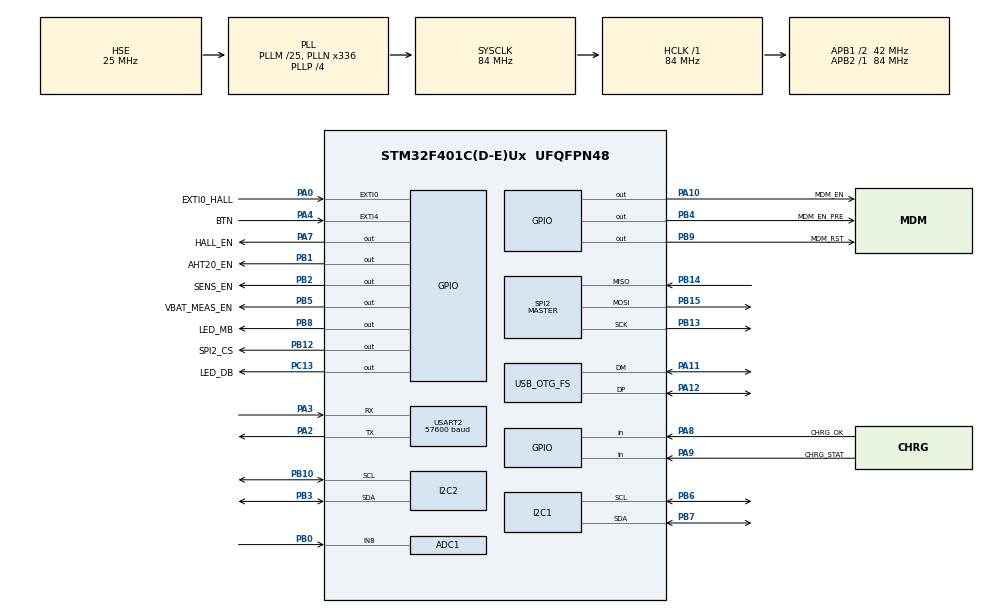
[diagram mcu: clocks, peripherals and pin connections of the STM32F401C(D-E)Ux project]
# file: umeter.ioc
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ADC1.Channel-0\#ChannelRegularConversion=ADC_CHANNEL_8
ADC1.NbrOfConversion=1
ADC1.NbrOfConversionFlag=1
ADC1.Rank-0\#ChannelRegularConversion=1
ADC1.SamplingTime-0\#ChannelRegularConversion=ADC_SAMPLETIME_3CYCLES
ADC1.master=1
Dma.Request0=USART2_RX
Dma.Request1=USART2_TX
Dma.USART2_RX.0.Direction=DMA_PERIPH_TO_MEMORY
Dma.USART2_RX.0.FIFOMode=DMA_FIFOMODE_DISABLE
Dma.USART2_RX.0.Instance=DMA1_Stream5
Dma.USART2_RX.0.MemDataAlignment=DMA_MDATAALIGN_BYTE
Dma.USART2_RX.0.MemInc=DMA_MINC_ENABLE
Dma.USART2_RX.0.Mode=DMA_NORMAL
Dma.USART2_RX.0.PeriphDataAlignment=DMA_PDATAALIGN_BYTE
Dma.USART2_RX.0.PeriphInc=DMA_PINC_DISABLE
Dma.USART2_RX.0.Priority=DMA_PRIORITY_LOW
Dma.USART2_TX.1.Direction=DMA_MEMORY_TO_PERIPH
Dma.USART2_TX.1.FIFOMode=DMA_FIFOMODE_DISABLE
Dma.USART2_TX.1.Instance=DMA1_Stream6
Dma.USART2_TX.1.MemDataAlignment=DMA_MDATAALIGN_BYTE
Dma.USART2_TX.1.MemInc=DMA_MINC_ENABLE
Dma.USART2_TX.1.Mode=DMA_NORMAL
Dma.USART2_TX.1.PeriphDataAlignment=DMA_PDATAALIGN_BYTE
Dma.USART2_TX.1.PeriphInc=DMA_PINC_DISABLE
Dma.USART2_TX.1.Priority=DMA_PRIORITY_LOW
FREERTOS.INCLUDE_xTaskGetHandle=1
FREERTOS.Tasks01=def,8,128,task_default,Default,&task_default_ctx,Dynamic,NULL,NULL;blink,8,64,task_blink,As external,&task_blink_ctx,Dynamic,NULL,NULL;button,16,128,task_button,As external,&task_button_ctx,Dynamic,NULL,NULL;logging,16,128,task_logging,As external,&task_logging_ctx,Dynamic,NULL,NULL;modem,24,256,task_modem,As external,&task_modem_ctx,Dynamic,NULL,NULL;serial_iface,24,256,task_serial_iface,As external,&task_serial_iface_ctx,Dynamic,NULL,NULL;ota,24,512,task_ota,As external,&task_ota_ctx,Dynamic,NULL,NULL;anemometer,32,128,task_anemometer,As external,&task_anemometer_ctx,Dynamic,NULL,NULL;sensors,32,128,task_sensors,As external,&task_sensors_ctx,Dynamic,NULL,NULL;watchdog,40,64,task_watchdog,As external,&task_watchdog_ctx,Dynamic,NULL,NULL;net,24,768,task_net,As external,&task_net_ctx,Dynamic,NULL,NULL
FREERTOS.configMINIMAL_STACK_SIZE=64
FREERTOS.configRECORD_STACK_HIGH_ADDRESS=1
FREERTOS.configTICK_RATE_HZ=100
FREERTOS.configTOTAL_HEAP_SIZE=20480
FREERTOS.configUSE_NEWLIB_REENTRANT=1
FREERTOS.configUSE_PREEMPTION=1
FREERTOS.configUSE_TICKLESS_IDLE=2
IWDG.Prescaler=IWDG_PRESCALER_256
Mcu.Family=STM32F4
Mcu.Name=STM32F401C(D-E)Ux
Mcu.Package=UFQFPN48
NVIC.DMA1_Stream5_IRQn=true\:5\:0\:false\:false\:true\:true\:false\:true\:true
NVIC.DMA1_Stream6_IRQn=true\:5\:0\:false\:false\:true\:true\:false\:true\:true
NVIC.EXTI0_IRQn=true\:5\:0\:false\:false\:true\:true\:true\:true\:true
NVIC.EXTI4_IRQn=true\:6\:0\:true\:false\:true\:true\:true\:true\:true
NVIC.OTG_FS_IRQn=true\:5\:0\:false\:false\:true\:true\:false\:true\:true
NVIC.PriorityGroup=NVIC_PRIORITYGROUP_4
NVIC.RTC_WKUP_IRQn=true\:5\:0\:false\:false\:true\:true\:true\:true\:true
NVIC.TIM1_UP_TIM10_IRQn=true\:15\:0\:false\:false\:true\:false\:false\:true\:true
NVIC.TimeBase=TIM1_UP_TIM10_IRQn
NVIC.TimeBaseIP=TIM1
NVIC.USART2_IRQn=true\:5\:0\:false\:false\:true\:true\:true\:true\:true
PA0-WKUP.GPIO_Label=EXTI0_HALL
PA0-WKUP.GPIO_ModeDefaultEXTI=GPIO_MODE_IT_FALLING
PA0-WKUP.Signal=GPXTI0
PA10.GPIO_Label=MDM_EN
PA10.Signal=GPIO_Output
PA11.Mode=Device_Only
PA11.Signal=USB_OTG_FS_DM
PA12.Mode=Device_Only
PA12.Signal=USB_OTG_FS_DP
PA13.Mode=Serial_Wire
PA13.Signal=SYS_JTMS-SWDIO
PA14.Mode=Serial_Wire
PA14.Signal=SYS_JTCK-SWCLK
PA2.Mode=Asynchronous
PA2.Signal=USART2_TX
PA3.Mode=Asynchronous
PA3.Signal=USART2_RX
PA4.GPIO_Label=BTN
PA4.GPIO_ModeDefaultEXTI=GPIO_MODE_IT_RISING_FALLING
PA4.Signal=GPXTI4
PA7.GPIO_Label=HALL_EN
PA7.Signal=GPIO_Output
PA8.GPIO_Label=CHRG_OK
PA8.Signal=GPIO_Input
PA9.GPIO_Label=CHRG_STAT
PA9.Signal=GPIO_Input
PB0.Signal=ADCx_IN8
PB1.GPIO_Label=AHT20_EN
PB1.Signal=GPIO_Output
PB10.Mode=I2C
PB10.Signal=I2C2_SCL
PB12.GPIO_Label=SPI2_CS
PB12.PinState=GPIO_PIN_SET
PB12.Signal=GPIO_Output
PB13.Mode=Full_Duplex_Master
PB13.Signal=SPI2_SCK
PB14.Mode=Full_Duplex_Master
PB14.Signal=SPI2_MISO
PB15.Mode=Full_Duplex_Master
PB15.Signal=SPI2_MOSI
PB2.GPIO_Label=SENS_EN
PB2.Signal=GPIO_Output
PB3.Mode=I2C
PB3.Signal=I2C2_SDA
PB4.GPIO_Label=MDM_EN_PRE
PB4.Signal=GPIO_Output
PB5.GPIO_Label=VBAT_MEAS_EN
PB5.Signal=GPIO_Output
PB6.Mode=I2C
PB6.Signal=I2C1_SCL
PB7.Mode=I2C
PB7.Signal=I2C1_SDA
PB8.GPIO_Label=LED_MB
PB8.Signal=GPIO_Output
PB9.GPIO_Label=MDM_RST
PB9.Signal=GPIO_Output
PC13-ANTI_TAMP.GPIO_Label=LED_DB
PC13-ANTI_TAMP.PinState=GPIO_PIN_SET
PC13-ANTI_TAMP.Signal=GPIO_Output
PC14-OSC32_IN.Mode=LSE-External-Oscillator
PC14-OSC32_IN.Signal=RCC_OSC32_IN
PC15-OSC32_OUT.Mode=LSE-External-Oscillator
PC15-OSC32_OUT.Signal=RCC_OSC32_OUT
PH0\ -\ OSC_IN.Mode=HSE-External-Oscillator
PH0\ -\ OSC_IN.Signal=RCC_OSC_IN
PH1\ -\ OSC_OUT.Mode=HSE-External-Oscillator
PH1\ -\ OSC_OUT.Signal=RCC_OSC_OUT
ProjectManager.HeapSize=0x1
ProjectManager.StackSize=0x1
ProjectManager.TargetToolchain=CMake
RCC.48MHZClocksFreq_Value=48000000
RCC.AHBFreq_Value=84000000
RCC.APB1CLKDivider=RCC_HCLK_DIV2
RCC.APB1Freq_Value=42000000
RCC.APB1TimFreq_Value=84000000
RCC.APB2Freq_Value=84000000
RCC.APB2TimFreq_Value=84000000
RCC.CortexFreq_Value=84000000
RCC.HCLKFreq_Value=84000000
RCC.HSE_VALUE=25000000
RCC.HSI_VALUE=16000000
RCC.PLLM=25
RCC.PLLN=336
RCC.PLLP=RCC_PLLP_DIV4
RCC.PLLQ=7
RCC.RCC_RTC_Clock_Source=RCC_RTCCLKSOURCE_LSE
RCC.RCC_RTC_Clock_SourceVirtual=RCC_RTCCLKSOURCE_LSE
RCC.SYSCLKFreq_VALUE=84000000
RCC.SYSCLKSource=RCC_SYSCLKSOURCE_PLLCLK
RCC.VCOOutputFreq_Value=336000000
RTC.AsynchPrediv=3
RTC.Format=RTC_FORMAT_BIN
RTC.Hours=0
RTC.StoreOperation=RTC_STOREOPERATION_RESET
RTC.SynchPrediv=8191
SH.ADCx_IN8.0=ADC1_IN8,IN8
SPI2.Direction=SPI_DIRECTION_2LINES
SPI2.Mode=SPI_MODE_MASTER
SPI2.VirtualType=VM_MASTER
USART2.BaudRate=57600
USART2.VirtualMode=VM_ASYNC
USB_DEVICE.CLASS_NAME_FS=CDC
USB_DEVICE.VirtualMode-CDC_FS=Cdc
USB_DEVICE.VirtualModeFS=Cdc_FS
USB_OTG_FS.VirtualMode=Device_Only
VP_FREERTOS_VS_CMSIS_V2.Mode=CMSIS_V2
VP_IWDG_VS_IWDG.Mode=IWDG_Activate
VP_RTC_VS_RTC_Activate.Mode=RTC_Enabled
VP_RTC_VS_RTC_Calendar.Mode=RTC_Calendar
VP_RTC_VS_RTC_WakeUp_intern.Mode=WakeUp
VP_SYS_VS_tim1.Mode=TIM1
VP_USB_DEVICE_VS_USB_DEVICE_CDC_FS.Mode=CDC_FS
board=custom

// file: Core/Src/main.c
/* USER CODE BEGIN Header */
/**
  ******************************************************************************
  * @file           : main.c
  * @brief          : Main program body
  ******************************************************************************
  * @attention
  *
  * Copyright (c) 2026 STMicroelectronics.
  * All rights reserved.
  *
  * This software is licensed under terms that can be found in the LICENSE file
  * in the root directory of this software component.
  * If no LICENSE file comes with this software, it is provided AS-IS.
  *
  ******************************************************************************
  */
/* USER CODE END Header */
#include "main.h"

#include "cmsis_os.h"
#include "dma.h"
#include "gpio.h"
#include "iwdg.h"
#include "rtc.h"
#include "usb_device.h"

/* USER CODE BEGIN Includes */

#include <string.h>

#include "actual.h"
#include "adc.h"
#include "aht20.h"
#include "appiface.h"
#include "as5600.h"
#include "avoltage.h"
#include "button.h"
#include "freqmeter.h"
#include "fws.h"
#include "i2c.h"
#include "icp201xx.h"
#include "logger.h"
#include "params.h"
#include "ptasks.h"
#include "sensorq.h"
#include "siface.h"
#include "sim800l.h"
#include "spi.h"
#include "usart.h"
#include "w25q_s.h"

/* USER CODE END Includes */

/* USER CODE BEGIN PD */

#define STACK_COLOR_WORD 0xACACACAC

/* RTC wakeup clock = LSE / 16 = 2048 Hz (set in MX_RTC_Init) */
#define RTC_WKUP_CLK_HZ 2048U

/* Maximum sleep time limited by IWDG (32 s) with safety margin */
#define MAX_SLEEP_MS 30000U

/* USER CODE END PD */

/* USER CODE BEGIN PV */

volatile struct bl_params bl __attribute__((section(".noinit")));

volatile int init_done = 0;

extern const uint32_t* _ebss;
extern const uint32_t* _estack;
extern const uint32_t* _app;
#define APP_ADDRESS ((uint32_t)&_app)

/* Hardware instances */
static struct actual actual;
static struct as5600 pot;
static struct aht20 aht;
static struct icp201xx prs;
static struct freqmeter cnt;
static struct avoltage avlt;
static struct button btn;
static struct siface siface;
static struct sim800l modem;
static struct w25q_s mem;
static struct sensorq sensorq;
static struct sensor_record sensorq_buf[SENSORS_QUEUE_CAPACITY];
#ifdef LOGGER
static struct logger logger;
#endif

/* USER CODE END PV */

void SystemClock_Config(void);
void MX_FREERTOS_Init(void);

/* USER CODE BEGIN 0 */

/*---------------------------------------------------------------------------*/
/* Power management functions                                                */
/*---------------------------------------------------------------------------*/

static void pm_modem_on(void) {
    HAL_GPIO_WritePin(MDM_RST_GPIO_Port, MDM_RST_Pin, GPIO_PIN_RESET);
    HAL_GPIO_WritePin(MDM_EN_PRE_GPIO_Port, MDM_EN_PRE_Pin, GPIO_PIN_SET);
    osDelay(pdMS_TO_TICKS(200));
    HAL_GPIO_WritePin(MDM_EN_GPIO_Port, MDM_EN_Pin, GPIO_PIN_SET);
    osDelay(pdMS_TO_TICKS(100));
    MX_USART2_UART_Init();
    HAL_GPIO_WritePin(MDM_RST_GPIO_Port, MDM_RST_Pin, GPIO_PIN_SET);
    osDelay(pdMS_TO_TICKS(3000));
}

static void pm_modem_off(void) {
    HAL_GPIO_WritePin(MDM_RST_GPIO_Port, MDM_RST_Pin, GPIO_PIN_RESET);
    HAL_UART_DeInit(&huart2);
    HAL_GPIO_WritePin(MDM_EN_GPIO_Port, MDM_EN_Pin, GPIO_PIN_RESET);
    HAL_GPIO_WritePin(MDM_EN_PRE_GPIO_Port, MDM_EN_PRE_Pin, GPIO_PIN_RESET);
}

static void pm_sens_on(void) {
    HAL_GPIO_WritePin(SENS_EN_GPIO_Port, SENS_EN_Pin, GPIO_PIN_SET);
    osDelay(pdMS_TO_TICKS(20));
    MX_I2C1_Init();
}

static void pm_sens_off(void) {
    HAL_I2C_DeInit(&hi2c1);
    HAL_GPIO_WritePin(SENS_EN_GPIO_Port, SENS_EN_Pin, GPIO_PIN_RESET);
}

static void pm_aht20_on(void) {
    HAL_I2C_DeInit(&hi2c2);
    HAL_GPIO_WritePin(AHT20_EN_GPIO_Port, AHT20_EN_Pin, GPIO_PIN_SET);
    osDelay(pdMS_TO_TICKS(100));
    MX_I2C2_Init();
}

static void pm_aht20_off(void) {
    HAL_I2C_DeInit(&hi2c2);
    HAL_GPIO_WritePin(AHT20_EN_GPIO_Port, AHT20_EN_Pin, GPIO_PIN_RESET);
    osDelay(pdMS_TO_TICKS(2));
}

static void pm_anemometer_on(void) {
    HAL_GPIO_WritePin(HALL_EN_GPIO_Port, HALL_EN_Pin, GPIO_PIN_SET);

    GPIO_InitTypeDef gi = {0};
    gi.Pin              = EXTI0_HALL_Pin;
    gi.Mode             = GPIO_MODE_IT_FALLING;
    gi.Pull             = GPIO_NOPULL;
    HAL_GPIO_Init(EXTI0_HALL_GPIO_Port, &gi);

    __HAL_GPIO_EXTI_CLEAR_IT(EXTI0_HALL_Pin);
    HAL_NVIC_ClearPendingIRQ(EXTI0_HALL_EXTI_IRQn);
    HAL_NVIC_EnableIRQ(EXTI0_HALL_EXTI_IRQn);
}

static void pm_anemometer_off(void) {
    HAL_NVIC_DisableIRQ(EXTI0_HALL_EXTI_IRQn);
    __HAL_GPIO_EXTI_CLEAR_IT(EXTI0_HALL_Pin);

    GPIO_InitTypeDef gi = {0};
    gi.Pin              = EXTI0_HALL_Pin;
    gi.Mode             = GPIO_MODE_ANALOG;
    gi.Pull             = GPIO_NOPULL;
    HAL_GPIO_Init(EXTI0_HALL_GPIO_Port, &gi);

    HAL_GPIO_WritePin(HALL_EN_GPIO_Port, HALL_EN_Pin, GPIO_PIN_RESET);
}

static void pm_avoltage_on(void) {
    MX_ADC1_Init();
    HAL_GPIO_WritePin(VBAT_MEAS_EN_GPIO_Port, VBAT_MEAS_EN_Pin, GPIO_PIN_SET);
    osDelay(pdMS_TO_TICKS(10));
}

static void pm_avoltage_off(void) {
    HAL_ADC_DeInit(&hadc1);
    HAL_GPIO_WritePin(VBAT_MEAS_EN_GPIO_Port, VBAT_MEAS_EN_Pin, GPIO_PIN_RESET);
}

static void pm_flash_spi_init(void) {
    MX_SPI2_Init();
}

static void pm_flash_spi_deinit(void) {
    HAL_SPI_DeInit(&hspi2);
}

/*---------------------------------------------------------------------------*/
/* Task context instances                                                    */
/*---------------------------------------------------------------------------*/

struct task_default_ctx task_default_ctx = {
    .actual  = &actual,
    .logger  = &logger,
    .sensorq = &sensorq,
    .cnt     = &cnt,
};
struct task_blink_ctx task_blink_ctx = {0};

struct task_button_ctx task_button_ctx = {
    .actual = &actual,
    .btn    = &btn,
};

struct task_watchdog_ctx task_watchdog_ctx = {0};

struct task_anemometer_ctx task_anemometer_ctx = {
    .actual         = &actual,
    .cnt            = &cnt,
    .anemometer_on  = pm_anemometer_on,
    .anemometer_off = pm_anemometer_off,
};

struct task_sensors_ctx task_sensors_ctx = {
    .actual   = &actual,
    .as5600   = &pot,
    .aht20    = &aht,
    .icp201xx = &prs,
    .voltage  = &avlt,
#ifdef LOGGER
    .logger = &logger,
#endif
    .sens_on   = pm_sens_on,
    .sens_off  = pm_sens_off,
    .aht20_on  = pm_aht20_on,
    .aht20_off = pm_aht20_off,
};

struct task_modem_ctx task_modem_ctx = {
    .actual    = &actual,
    .modem     = &modem,
    .voltage   = &avlt,
    .power_on  = pm_modem_on,
    .power_off = pm_modem_off,
#ifdef LOGGER
    .logger = &logger,
#endif
};

struct task_serial_iface_ctx task_serial_iface_ctx = {
    .siface = &siface,
};

struct task_logging_ctx task_logging_ctx = {
#ifdef LOGGER
    .logger = &logger,
#endif
};

struct task_net_ctx task_net_ctx = {
    .actual = &actual,
    .queue  = &sensorq,
#ifdef LOGGER
    .logger = &logger,
#endif
};

struct task_ota_ctx task_ota_ctx = {
    .mem = &mem,
#ifdef LOGGER
    .logger = &logger,
#endif
};

/*---------------------------------------------------------------------------*/
/* ISR forwarders                                                            */
/*---------------------------------------------------------------------------*/

void usb_cdc_rx_callback(uint8_t* buf, size_t size) {
    siface_rx_irq(&siface, (const char*)buf, size);
}

void usb_cdc_tx_callback(void) {
    siface_tx_irq(&siface);
}

void HAL_UARTEx_RxEventCallback(UART_HandleTypeDef* huart, uint16_t size) {
    if (HAL_UARTEx_GetRxEventType(huart) == HAL_UART_RXEVENT_HT) {
        return;
    }

    if (huart == &huart2) {
        sim800l_irq(&modem, size);
        HAL_UARTEx_ReceiveToIdle_DMA(modem.uart,
                                     (uint8_t*)modem.dma_buffer,
                                     SIM800L_UART_BUFFER_SIZE);
    }
}

void HAL_UART_ErrorCallback(UART_HandleTypeDef* huart) {
    if (huart == &huart2) {
        HAL_UART_AbortReceive(huart);
        HAL_UARTEx_ReceiveToIdle_DMA(modem.uart,
                                     (uint8_t*)modem.dma_buffer,
                                     SIM800L_UART_BUFFER_SIZE);
    }
}

void HAL_UART_TxCpltCallback(UART_HandleTypeDef* huart) {
    (void)huart;
}

void HAL_GPIO_EXTI_Callback(uint16_t GPIO_Pin) {
    GPIO_PinState pin_state;

    if (!init_done) {
        return;
    }

    if (GPIO_Pin == EXTI0_HALL_Pin) {
        freqmeter_irq(&cnt);
        return;
    }

    if (GPIO_Pin == BTN_Pin) {
        pin_state = HAL_GPIO_ReadPin(BTN_GPIO_Port, BTN_Pin);
        if (button_irq_callback(&btn,
                                (pin_state == GPIO_PIN_RESET),
                                HAL_GetTick())) {
            task_button_irq_notify_from_isr();
        }
    }
}

//
static void stack_color(void) {
    volatile uint32_t *p, *end;

    p   = (uint32_t*)&_ebss;
    end = (uint32_t*)__get_MSP();
    p++;

    while (p < end) {
        *p = STACK_COLOR_WORD;
        p++;
    }
}

//
size_t stack_size(void) {
    volatile uint32_t *p, *end;

    p   = (uint32_t*)&_ebss;
    end = (uint32_t*)&_estack;
    p++;

    while ((p < end) && (*p == STACK_COLOR_WORD)) {
        p++;
    }

    return (size_t)end - (size_t)p;
}

/* USER CODE END 0 */

int main(void) {
    /* USER CODE BEGIN 1 */

    SCB->VTOR = APP_ADDRESS;
    __enable_irq();

    //
    stack_color();

    /* USER CODE END 1 */

    /* MCU Configuration--------------------------------------------------------*/

    /* Reset of all peripherals, Initializes the Flash interface and the Systick. */
    HAL_Init();

    /* Configure the system clock */
    SystemClock_Config();

    /* Initialize all configured peripherals */
    MX_GPIO_Init();
    MX_DMA_Init();
    MX_IWDG_Init();
    MX_RTC_Init();
    /* USER CODE BEGIN 2 */

    HAL_RTCEx_DeactivateWakeUpTimer(&hrtc);

    //
    params_init();

    //
    actual_init(&actual);

    //
    appif.actual  = &actual;
    appif.uparams = params;

    //
    button_init(&btn, NULL, 50);
    siface_init(&siface, 32, appiface, &appif);
#ifdef LOGGER
    logger_init(&logger, &siface);
#endif
    w25q_s_init(&mem,
                &hspi2,
                SPI2_CS_GPIO_Port,
                SPI2_CS_Pin,
                pm_flash_spi_init,
                pm_flash_spi_deinit);
    sim800l_init(&modem, &huart2, params.apn, &logger);
    modem_init();
    as5600_init(&pot, &hi2c1);
    icp201xx_init(&prs, &hi2c1);
    aht20_init(&aht, &hi2c2);
    freqmeter_init(&cnt);
    avoltage_init(&avlt, &hadc1, 2, pm_avoltage_on, pm_avoltage_off);

    sensorq_init(&sensorq, sensorq_buf, SENSORS_QUEUE_CAPACITY);

    // Flash power-down in Stop mode
    HAL_PWREx_EnableFlashPowerDown();

    /* USER CODE END 2 */

    /* Init scheduler */
    osKernelInitialize(); /* Call init function for freertos objects (in cmsis_os2.c) */
    MX_FREERTOS_Init();

    /* Start scheduler */
    osKernelStart();

    /* We should never get here as control is now taken by the scheduler */

    /* Infinite loop */
    while (1) {

    }
}

void SystemClock_Config(void) {
    RCC_OscInitTypeDef RCC_OscInitStruct = {0};
    RCC_ClkInitTypeDef RCC_ClkInitStruct = {0};

    /** Configure the main internal regulator output voltage
  */
    __HAL_RCC_PWR_CLK_ENABLE();
    __HAL_PWR_VOLTAGESCALING_CONFIG(PWR_REGULATOR_VOLTAGE_SCALE2);

    /** Initializes the RCC Oscillators according to the specified parameters
  * in the RCC_OscInitTypeDef structure.
  */
    RCC_OscInitStruct.OscillatorType = RCC_OSCILLATORTYPE_LSI |
                                       RCC_OSCILLATORTYPE_HSE |
                                       RCC_OSCILLATORTYPE_LSE;
    RCC_OscInitStruct.HSEState       = RCC_HSE_ON;
    RCC_OscInitStruct.LSEState       = RCC_LSE_ON;
    RCC_OscInitStruct.LSIState       = RCC_LSI_ON;
    RCC_OscInitStruct.PLL.PLLState   = RCC_PLL_ON;
    RCC_OscInitStruct.PLL.PLLSource  = RCC_PLLSOURCE_HSE;
    RCC_OscInitStruct.PLL.PLLM       = 25;
    RCC_OscInitStruct.PLL.PLLN       = 336;
    RCC_OscInitStruct.PLL.PLLP       = RCC_PLLP_DIV4;
    RCC_OscInitStruct.PLL.PLLQ       = 7;
    if (HAL_RCC_OscConfig(&RCC_OscInitStruct) != HAL_OK) {
        Error_Handler();
    }

    /** Initializes the CPU, AHB and APB buses clocks
  */
    RCC_ClkInitStruct.ClockType    = RCC_CLOCKTYPE_HCLK | RCC_CLOCKTYPE_SYSCLK |
                                     RCC_CLOCKTYPE_PCLK1 | RCC_CLOCKTYPE_PCLK2;
    RCC_ClkInitStruct.SYSCLKSource = RCC_SYSCLKSOURCE_PLLCLK;
    RCC_ClkInitStruct.AHBCLKDivider  = RCC_SYSCLK_DIV1;
    RCC_ClkInitStruct.APB1CLKDivider = RCC_HCLK_DIV2;
    RCC_ClkInitStruct.APB2CLKDivider = RCC_HCLK_DIV1;

    if (HAL_RCC_ClockConfig(&RCC_ClkInitStruct, FLASH_LATENCY_2) != HAL_OK) {
        Error_Handler();
    }
}

void HAL_TIM_PeriodElapsedCallback(TIM_HandleTypeDef* htim) {
    if (htim->Instance == TIM1) {
        HAL_IncTick();
    }
}

void Error_Handler(void) {
    __disable_irq();
    while (1) {}
}

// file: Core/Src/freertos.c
/* USER CODE BEGIN Header */
/**
  ******************************************************************************
  * File Name          : freertos.c
  * Description        : Code for freertos applications
  ******************************************************************************
  * @attention
  *
  * Copyright (c) 2026 STMicroelectronics.
  * All rights reserved.
  *
  * This software is licensed under terms that can be found in the LICENSE file
  * in the root directory of this software component.
  * If no LICENSE file comes with this software, it is provided AS-IS.
  *
  ******************************************************************************
  */
/* USER CODE END Header */

#include "FreeRTOS.h"

#include "cmsis_os.h"
#include "main.h"
#include "task.h"

/* USER CODE BEGIN Includes */

#include "iwdg.h"
#include "ptasks.h"
#include "rtc.h"

/* USER CODE END Includes */

/* USER CODE BEGIN Variables */

extern volatile int init_done;
extern volatile uint32_t uwTick; /* HAL tick counter (stm32f4xx_hal.c) */

/* Context instances (defined in main.c) */
extern struct task_default_ctx task_default_ctx;
extern struct task_blink_ctx task_blink_ctx;
extern struct task_button_ctx task_button_ctx;
extern struct task_watchdog_ctx task_watchdog_ctx;
extern struct task_anemometer_ctx task_anemometer_ctx;
extern struct task_sensors_ctx task_sensors_ctx;
extern struct task_modem_ctx task_modem_ctx;
extern struct task_serial_iface_ctx task_serial_iface_ctx;
extern struct task_logging_ctx task_logging_ctx;
extern struct task_net_ctx task_net_ctx;
extern struct task_ota_ctx task_ota_ctx;

/* USER CODE END Variables */
/* Definitions for def */
osThreadId_t defHandle;
const osThreadAttr_t def_attributes = {
    .name       = "def",
    .stack_size = 128 * 4,
    .priority   = (osPriority_t)osPriorityLow,
};
/* Definitions for blink */
osThreadId_t blinkHandle;
const osThreadAttr_t blink_attributes = {
    .name       = "blink",
    .stack_size = 64 * 4,
    .priority   = (osPriority_t)osPriorityLow,
};
/* Definitions for button */
osThreadId_t buttonHandle;
const osThreadAttr_t button_attributes = {
    .name       = "button",
    .stack_size = 128 * 4,
    .priority   = (osPriority_t)osPriorityBelowNormal,
};
/* Definitions for logging */
osThreadId_t loggingHandle;
const osThreadAttr_t logging_attributes = {
    .name       = "logging",
    .stack_size = 128 * 4,
    .priority   = (osPriority_t)osPriorityBelowNormal,
};
/* Definitions for modem */
osThreadId_t modemHandle;
const osThreadAttr_t modem_attributes = {
    .name       = "modem",
    .stack_size = 256 * 4,
    .priority   = (osPriority_t)osPriorityNormal,
};
/* Definitions for serial_iface */
osThreadId_t serial_ifaceHandle;
const osThreadAttr_t serial_iface_attributes = {
    .name       = "serial_iface",
    .stack_size = 256 * 4,
    .priority   = (osPriority_t)osPriorityNormal,
};
/* Definitions for ota */
osThreadId_t otaHandle;
const osThreadAttr_t ota_attributes = {
    .name       = "ota",
    .stack_size = 512 * 4,
    .priority   = (osPriority_t)osPriorityNormal,
};
/* Definitions for anemometer */
osThreadId_t anemometerHandle;
const osThreadAttr_t anemometer_attributes = {
    .name       = "anemometer",
    .stack_size = 128 * 4,
    .priority   = (osPriority_t)osPriorityAboveNormal,
};
/* Definitions for sensors */
osThreadId_t sensorsHandle;
const osThreadAttr_t sensors_attributes = {
    .name       = "sensors",
    .stack_size = 128 * 4,
    .priority   = (osPriority_t)osPriorityAboveNormal,
};
/* Definitions for watchdog */
osThreadId_t watchdogHandle;
const osThreadAttr_t watchdog_attributes = {
    .name       = "watchdog",
    .stack_size = 64 * 4,
    .priority   = (osPriority_t)osPriorityHigh,
};
/* Definitions for net */
osThreadId_t netHandle;
const osThreadAttr_t net_attributes = {
    .name       = "net",
    .stack_size = 768 * 4,
    .priority   = (osPriority_t)osPriorityNormal,
};

void task_default(void* argument);
extern void task_blink(void* argument);
extern void task_button(void* argument);
extern void task_logging(void* argument);
extern void task_modem(void* argument);
extern void task_serial_iface(void* argument);
extern void task_ota(void* argument);
extern void task_anemometer(void* argument);
extern void task_sensors(void* argument);
extern void task_watchdog(void* argument);
extern void task_net(void* argument);

extern void MX_USB_DEVICE_Init(void);
void MX_FREERTOS_Init(void); /* (MISRA C 2004 rule 8.1) */

/* USER CODE BEGIN VPORT_SUPPORT_TICKS_AND_SLEEP */

/*
 * Custom tickless idle: RTC wakeup timer + Stop mode
 *
 * Overrides the CubeMX-generated weak stub to allow sleep durations of up to
 * MAX_SLEEP_TICKS (30 s), far beyond the SysTick 24-bit counter limit (~200 ms
 * at 84 MHz).
 *
 * RTC wakeup timer clocked from LSE/16 = 2048 Hz (16-bit counter) gives a
 * maximum single-shot period of 65535/2048 ≈ 32 s.
 *
 * Elapsed time is measured via RTC calendar registers (sub-second resolution
 * ≈ 4 ms with SynchPrediv=255) which keeps ticking during Stop mode, so the
 * RTOS tick count stays accurate after waking.
 */

/* RTC wakeup clock = LSE / 16 = 2048 Hz */
#define WKUP_CLK_HZ 2048U
/* Max sleep capped below IWDG timeout (32 s) */
#define MAX_SLEEP_TICKS pdMS_TO_TICKS(30000U)

/* Convert RTC time to milliseconds-of-day (0..86 399 999) */
static uint32_t rtc_time_to_ms(const RTC_TimeTypeDef* t) {
    uint32_t ms = ((uint32_t)t->Hours * 3600U + (uint32_t)t->Minutes * 60U +
                   (uint32_t)t->Seconds) *
                  1000U;
    /* SubSeconds counts down from SynchPrediv to 0 */
    ms += ((uint32_t)(t->SecondFraction - t->SubSeconds) * 1000U) /
          (t->SecondFraction + 1U);
    return ms;
}

void vPortSuppressTicksAndSleep(TickType_t xExpectedIdleTime) {
    /* Cap to MAX_SLEEP_TICKS for IWDG safety */
    if (xExpectedIdleTime > MAX_SLEEP_TICKS) {
        xExpectedIdleTime = MAX_SLEEP_TICKS;
    }

    /* Disable interrupts (same pattern as port.c) */
    __disable_irq();
    __DSB();
    __ISB();

    if (eTaskConfirmSleepModeStatus() == eAbortSleep) {
        __enable_irq();
        return;
    }

    /*
     * Stop mode is unsafe when:
     *  - USB OTG FS is active (clocks halt -> host sees disconnect)
     *  - SIM800L modem is on  (UART DMA loses sync after HSI wakeup)
     * Fall back to regular WFI — SysTick keeps running, so just return
     * and let FreeRTOS handle the single-tick accounting.
     */
    if (__HAL_RCC_USB_OTG_FS_IS_CLK_ENABLED() ||
        HAL_GPIO_ReadPin(MDM_EN_GPIO_Port, MDM_EN_Pin) == GPIO_PIN_SET) {
        __enable_irq();
        __WFI();
        return;
    }

    /* Refresh IWDG before entering long sleep */
    IWDG_reset();

    /* --- Record RTC time before sleep --- */
    RTC_TimeTypeDef t_before;
    RTC_DateTypeDef d_before;
    HAL_RTC_GetTime(&hrtc, &t_before, RTC_FORMAT_BIN);
    HAL_RTC_GetDate(&hrtc, &d_before, RTC_FORMAT_BIN);
    uint32_t ms_before = rtc_time_to_ms(&t_before);

    /* Suspend HAL tick (TIM1) */
    HAL_SuspendTick();

    /* Calculate wakeup timer value and arm it with interrupt */
    {
        uint32_t sleep_ms =
            (uint32_t)xExpectedIdleTime * (1000U / configTICK_RATE_HZ);
        uint32_t wut = (sleep_ms * WKUP_CLK_HZ) / 1000U;
        if (wut > 0) {
            wut--;
        }
        if (wut > 0xFFFF) {
            wut = 0xFFFF;
        }
        HAL_RTCEx_SetWakeUpTimer_IT(&hrtc, wut, RTC_WAKEUPCLOCK_RTCCLK_DIV16);
    }

    /* --- Enter Stop mode (low-power regulator, WFI entry) --- */
    HAL_PWR_EnterSTOPMode(PWR_LOWPOWERREGULATOR_ON, PWR_STOPENTRY_WFI);

    /* === Woken up (interrupts still globally disabled) === */

    /* Deactivate wakeup timer (clears WUTF, disables IT & EXTI) */
    HAL_RTCEx_DeactivateWakeUpTimer(&hrtc);

    /* Restore system clock (HSE + PLL) — required after Stop mode */
    SystemClock_Config();

    /* Resume HAL tick */
    HAL_ResumeTick();

    /* --- Compute elapsed time from RTC --- */
    RTC_TimeTypeDef t_after;
    RTC_DateTypeDef d_after;
    HAL_RTC_GetTime(&hrtc, &t_after, RTC_FORMAT_BIN);
    HAL_RTC_GetDate(&hrtc, &d_after, RTC_FORMAT_BIN);
    uint32_t ms_after = rtc_time_to_ms(&t_after);

    /* Handle midnight rollover */
    if (ms_after < ms_before) {
        ms_after += 24 * 60 * 60 * 1000;
    }
    uint32_t elapsed_ms = ms_after - ms_before;

    /* Convert to ticks: elapsed_ms * configTICK_RATE_HZ / 1000 */
    TickType_t elapsed_ticks =
        (TickType_t)(elapsed_ms * configTICK_RATE_HZ / 1000U);

    /* Clamp: vTaskStepTick asserts elapsed < xExpectedIdleTime */
    if (elapsed_ticks >= xExpectedIdleTime) {
        elapsed_ticks = xExpectedIdleTime - 1U;
    }

    /*
     * Compensate HAL tick for time spent in Stop mode.
     * TIM1 (HAL timebase) was suspended, so uwTick is stale.
     * Pending IRQs (e.g. button EXTI) fire after __enable_irq()
     * and call HAL_GetTick() — the value must already be correct.
     */
    uwTick += elapsed_ms;

    /* Re-enable interrupts (pending RTC_WKUP IRQ will fire now) */
    __enable_irq();

    /* Advance RTOS tick count by the time we slept */
    if (elapsed_ticks > 0) {
        vTaskStepTick(elapsed_ticks);
    }
}

/* USER CODE END VPORT_SUPPORT_TICKS_AND_SLEEP */

void MX_FREERTOS_Init(void) {

    /* USER CODE BEGIN RTOS_TIMERS */
    /* start timers, add new ones, ... */

    task_manager_init();

    /* USER CODE END RTOS_TIMERS */

    /* Create the thread(s) */
    /* creation of def */
    defHandle =
        osThreadNew(task_default, (void*)&task_default_ctx, &def_attributes);

    /* creation of blink */
    blinkHandle =
        osThreadNew(task_blink, (void*)&task_blink_ctx, &blink_attributes);

    /* creation of button */
    buttonHandle =
        osThreadNew(task_button, (void*)&task_button_ctx, &button_attributes);

    /* creation of logging */
    loggingHandle = osThreadNew(task_logging,
                                (void*)&task_logging_ctx,
                                &logging_attributes);

    /* creation of modem */
    modemHandle =
        osThreadNew(task_modem, (void*)&task_modem_ctx, &modem_attributes);

    /* creation of serial_iface */
    serial_ifaceHandle = osThreadNew(task_serial_iface,
                                     (void*)&task_serial_iface_ctx,
                                     &serial_iface_attributes);

    /* creation of ota */
    otaHandle = osThreadNew(task_ota, (void*)&task_ota_ctx, &ota_attributes);

    /* creation of anemometer */
    anemometerHandle = osThreadNew(task_anemometer,
                                   (void*)&task_anemometer_ctx,
                                   &anemometer_attributes);

    /* creation of sensors */
    sensorsHandle = osThreadNew(task_sensors,
                                (void*)&task_sensors_ctx,
                                &sensors_attributes);

    /* creation of watchdog */
    watchdogHandle = osThreadNew(task_watchdog,
                                 (void*)&task_watchdog_ctx,
                                 &watchdog_attributes);

    /* creation of net */
    netHandle = osThreadNew(task_net, (void*)&task_net_ctx, &net_attributes);

    /* USER CODE BEGIN RTOS_THREADS */
    /* add threads, ... */

    init_done = 1;

    /* USER CODE END RTOS_THREADS */

}

void task_default(void* argument) {
    /* init code for USB_DEVICE */
    MX_USB_DEVICE_Init();
    /* USER CODE BEGIN task_default */
    task_manager_run(argument);

    /* USER CODE END task_default */
}
